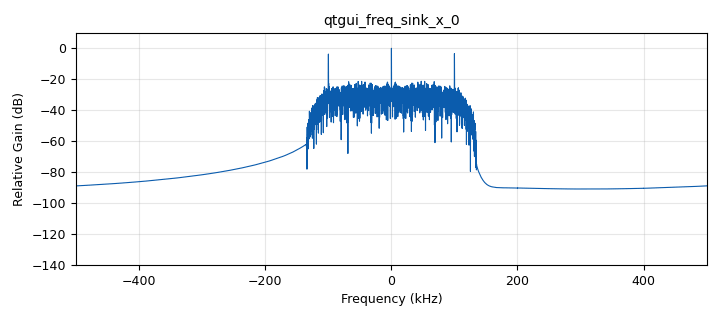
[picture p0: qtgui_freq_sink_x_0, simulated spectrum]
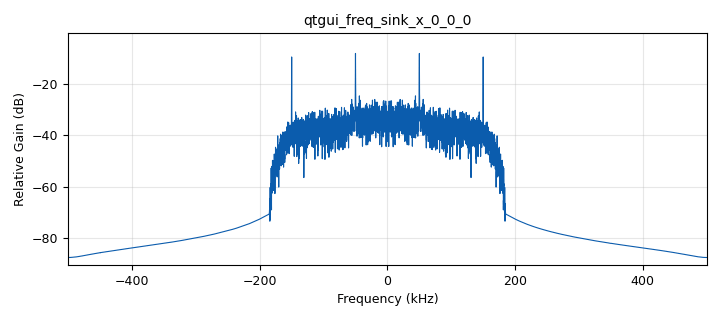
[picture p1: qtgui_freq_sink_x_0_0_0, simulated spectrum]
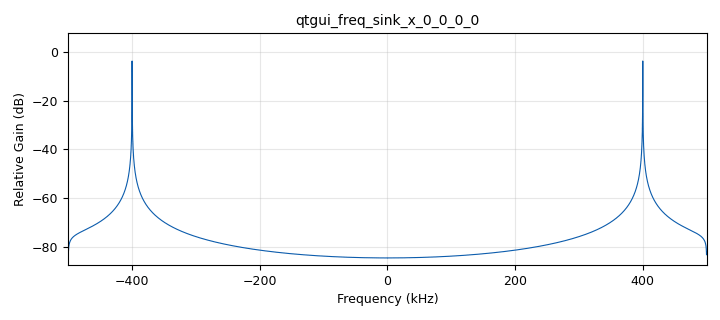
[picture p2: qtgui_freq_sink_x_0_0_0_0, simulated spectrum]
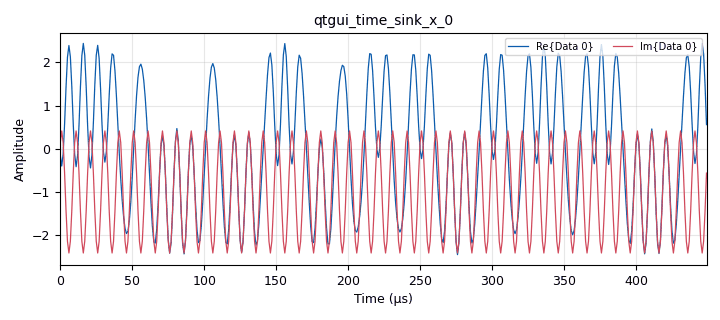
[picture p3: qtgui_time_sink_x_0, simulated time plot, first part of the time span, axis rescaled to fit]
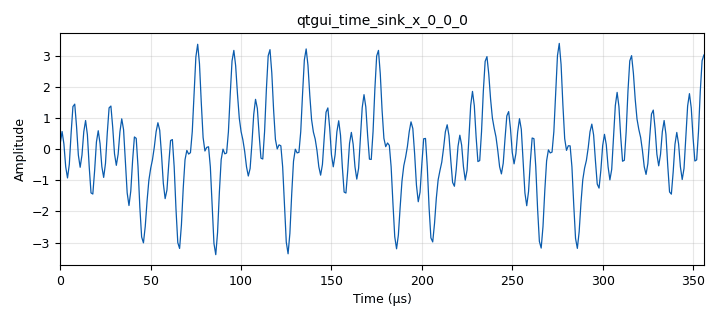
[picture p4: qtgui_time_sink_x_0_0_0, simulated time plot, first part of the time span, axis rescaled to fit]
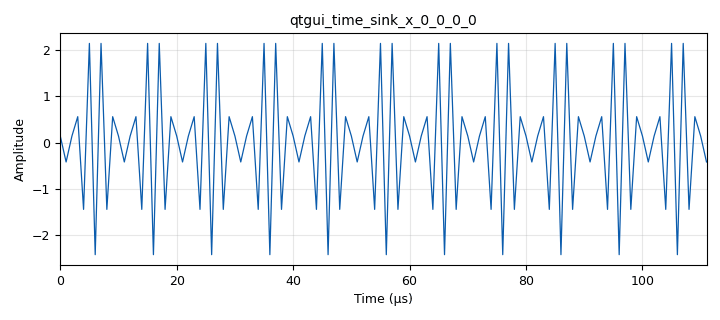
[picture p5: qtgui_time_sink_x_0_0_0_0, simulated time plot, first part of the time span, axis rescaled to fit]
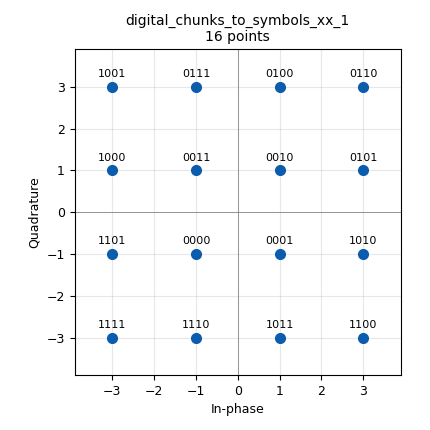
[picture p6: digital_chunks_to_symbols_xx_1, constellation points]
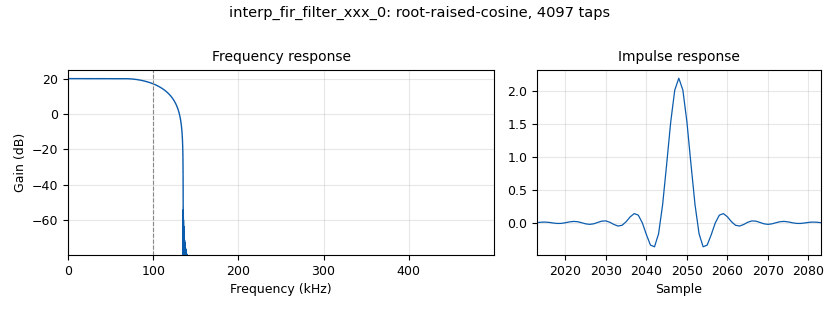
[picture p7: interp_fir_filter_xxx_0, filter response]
options:
  parameters:
    generate_options: qt_gui
    id: Que3
    output_language: python
    title: Not titled yet
  states: {}

blocks:
- name: RRC
  id: variable
  parameters:
    value: firdes.root_raised_cosine(10, samp_rate, symbol_rate, 0.35, 4096)
  states: {}
- name: bpsk
  id: variable
  parameters:
    value: '[-1+0j,1+0j]'
  states: {}
- name: interpolation_factor
  id: variable
  parameters:
    value: samp_rate//symbol_rate
  states: {}
- name: mod_chooser
  id: variable_qtgui_chooser
  parameters:
    label0: bpsk
    label1: qam16
    num_opts: '2'
    option0: bpsk
    option1: qam16
    orient: Qt.QHBoxLayout
    type: raw
    value: qam16
  states: {}
- name: qam16
  id: variable
  parameters:
    value: '[-1-1j, +1-1j, 1+1j,-1+1j,1+3j, 3+1j, 3+3j, -1+3j, -3+1j, -3+3j, 3-1j, 1-3j, 3-3j, -3-1j, -1-3j, -3-3j]'
  states: {}
- name: samp_rate
  id: variable
  parameters:
    value: '1000000'
  states: {}
- name: symbol_rate
  id: variable
  parameters:
    value: 200000//1
  states: {}
- name: analog_random_source_x_0
  id: analog_random_source_x
  parameters:
    max: '2'
    min: '0'
    num_samps: '1024'
    repeat: 'True'
    type: byte
  states: {}
- name: analog_sig_source_x_0_0
  id: analog_sig_source_x
  parameters:
    amp: '1'
    freq: '500000'
    offset: '0'
    phase: '0'
    samp_rate: samp_rate
    type: complex
    waveform: analog.GR_COS_WAVE
  states: {}
- name: analog_sig_source_x_0_1
  id: analog_sig_source_x
  parameters:
    amp: '1'
    freq: '50000'
    offset: '0'
    phase: '0'
    samp_rate: samp_rate
    type: complex
    waveform: analog.GR_COS_WAVE
  states: {}
- name: blocks_complex_to_imag_0
  id: blocks_complex_to_imag
  parameters: {}
  states: {}
- name: blocks_complex_to_real_0
  id: blocks_complex_to_real
  parameters: {}
  states: {}
- name: blocks_multiply_xx_0_0
  id: blocks_multiply_xx
  parameters:
    type: complex
  states: {}
- name: blocks_multiply_xx_0_0_0
  id: blocks_multiply_xx
  parameters:
    type: complex
  states: {}
- name: blocks_throttle2_0
  id: blocks_throttle2
  parameters:
    samples_per_second: samp_rate
    type: complex
  states: {}
- name: digital_chunks_to_symbols_xx_1
  id: digital_chunks_to_symbols_xx
  parameters:
    dimension: '1'
    in_type: byte
    out_type: complex
    symbol_table: mod_chooser
  states: {}
- name: import_0
  id: import
  parameters:
    imports: import math
  states: {}
- name: import_0_0
  id: import
  parameters:
    imports: import numpy
  states: {}
- name: interp_fir_filter_xxx_0
  id: interp_fir_filter_xxx
  parameters:
    interp: '10'
    taps: RRC
    type: ccc
  states: {}
- name: qtgui_freq_sink_x_0
  id: qtgui_freq_sink_x
  parameters:
    bw: samp_rate
    fc: '0'
    fftsize: '8192'
    type: complex
    wintype: window.WIN_RECTANGULAR
  states: {}
- name: qtgui_freq_sink_x_0_0_0
  id: qtgui_freq_sink_x
  parameters:
    autoscale: 'True'
    average: '0.05'
    bw: samp_rate
    fc: '0'
    fftsize: '8192'
    type: float
    wintype: window.WIN_RECTANGULAR
  states: {}
- name: qtgui_freq_sink_x_0_0_0_0
  id: qtgui_freq_sink_x
  parameters:
    autoscale: 'True'
    average: '0.05'
    bw: samp_rate
    fc: '0'
    fftsize: '8192'
    type: float
    wintype: window.WIN_RECTANGULAR
  states: {}
- name: qtgui_time_sink_x_0
  id: qtgui_time_sink_x
  parameters:
    size: '8192'
    srate: samp_rate
    type: complex
  states: {}
- name: qtgui_time_sink_x_0_0_0
  id: qtgui_time_sink_x
  parameters:
    size: '8192'
    srate: samp_rate
    type: float
  states: {}
- name: qtgui_time_sink_x_0_0_0_0
  id: qtgui_time_sink_x
  parameters:
    size: '8192'
    srate: samp_rate
    type: float
  states: {}
- name: virtual_sink_0
  id: virtual_sink
  parameters:
    stream_id: passband
  states: {}
- name: virtual_source_0_0
  id: virtual_source
  parameters:
    stream_id: passband
  states: {}
- name: virtual_source_0_1
  id: virtual_source
  parameters:
    stream_id: passband
  states: {}

connections:
- [analog_random_source_x_0, '0', digital_chunks_to_symbols_xx_1, '0']
- [analog_sig_source_x_0_0, '0', blocks_multiply_xx_0_0_0, '1']
- [analog_sig_source_x_0_1, '0', blocks_multiply_xx_0_0, '1']
- [blocks_complex_to_imag_0, '0', qtgui_freq_sink_x_0_0_0_0, '0']
- [blocks_complex_to_imag_0, '0', qtgui_time_sink_x_0_0_0_0, '0']
- [blocks_complex_to_real_0, '0', qtgui_freq_sink_x_0_0_0, '0']
- [blocks_complex_to_real_0, '0', qtgui_time_sink_x_0_0_0, '0']
- [blocks_multiply_xx_0_0, '0', blocks_complex_to_real_0, '0']
- [blocks_multiply_xx_0_0_0, '0', blocks_complex_to_imag_0, '0']
- [blocks_throttle2_0, '0', qtgui_freq_sink_x_0, '0']
- [blocks_throttle2_0, '0', qtgui_time_sink_x_0, '0']
- [blocks_throttle2_0, '0', virtual_sink_0, '0']
- [digital_chunks_to_symbols_xx_1, '0', interp_fir_filter_xxx_0, '0']
- [interp_fir_filter_xxx_0, '0', blocks_throttle2_0, '0']
- [virtual_source_0_0, '0', blocks_multiply_xx_0_0_0, '0']
- [virtual_source_0_1, '0', blocks_multiply_xx_0_0, '0']

metadata:
  file_format: 1
  grc_version: 3.10.10.0
